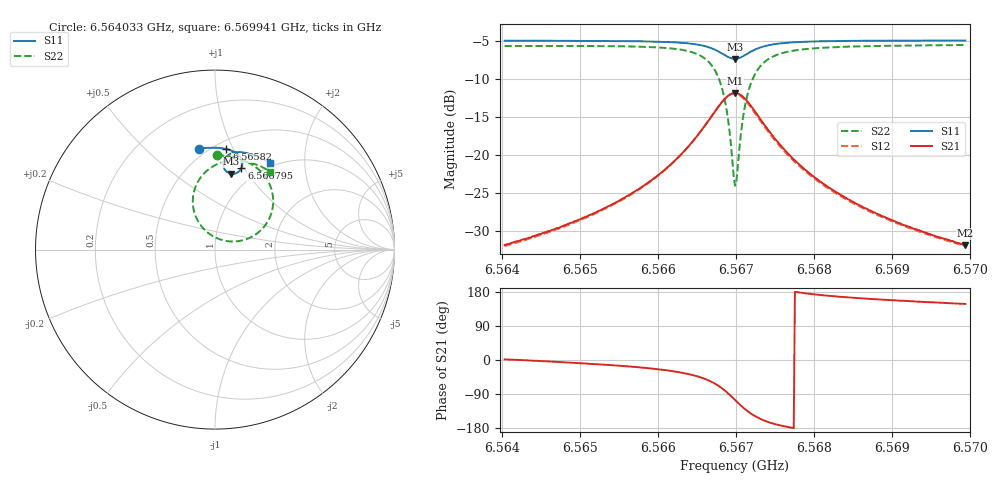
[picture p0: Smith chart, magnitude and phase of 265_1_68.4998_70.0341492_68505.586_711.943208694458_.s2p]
#  HZ  S  RI  R  50.00
! Rohde & Schwarz Vector Network Analyzer
! Rohde-Schwarz,ZNB20-2Port,1311601062101988,3.16
! Created: UTC 3/20/2024, 5:00:25 PM
! freq[Hz]  re:S11  im:S11  re:S21  im:S21  re:S12  im:S12  re:S22  im:S22
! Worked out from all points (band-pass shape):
!   401 points, 6.564033 GHz to 6.569941 GHz, reference 50 ohm
!   highest |S21| = -11.78 dB at 6.566987 GHz (marker M1); lowest = -31.8 dB at 6.569941 GHz (marker M2)
!   |S21| within 3 dB of the highest: 6.566691 GHz to 6.567282 GHz (591.3 kHz wide, 0.009 % of centre)
!   lowest |S11| = -7.3 dB at 6.566987 GHz (marker M3), VSWR 2.52, Z = 40.2 + j41.8 ohm
!   |S11| at or under -10 dB: nowhere
!   |S22| runs from -24.0 to -5.5 dB; largest |S21 - S12| = 0.012
!   S11 on the Smith chart (normalised r, x): 6.564033 GHz: 0.45, +0.75; 6.56582 GHz: 0.57, +0.94; 6.566795 GHz: 0.83, +0.97; 6.569941 GHz: 0.94, +1.35
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6.5640333e9  -0.0875 0.5623  0.0258 0.000771  0.0253 0.000304  0.011 0.5248
6.5650228e9  -0.00787 0.568  0.038 -0.00583  0.0374 -0.00641  0.1007 0.5152
6.5658203e9  0.0635 0.5601  0.0594 -0.0223  0.0585 -0.023  0.1944 0.4809
6.5660123e9  0.0826 0.5546  0.0681 -0.0313  0.0672 -0.0321  0.2233 0.4623
6.5663373e9  0.1182 0.5369  0.088 -0.061  0.0863 -0.0622  0.2815 0.4035
6.5665588e9  0.1429 0.5104  0.1007 -0.1066  0.0984 -0.1086  0.3197 0.3153
6.5666917e9  0.1519 0.4827  0.0964 -0.1551  0.0928 -0.1579  0.3191 0.2229
6.5667951e9  0.147 0.4539  0.0707 -0.2045  0.0645 -0.2072  0.2756 0.1301
6.5668837e9  0.1273 0.4306  0.0202 -0.2425  0.0108 -0.2431  0.1838 0.0612
6.5669133e9  0.1172 0.4254  -0.00322 -0.2501  -0.0131 -0.2493  0.1418 0.049
6.5669576e9  0.0997 0.4221  -0.0417 -0.2531  -0.0523 -0.2496  0.0731 0.0464
6.5669871e9  0.0876 0.4232  -0.0681 -0.2485  -0.0781 -0.2433  0.0275 0.0569
6.5670166e9  0.076 0.4271  -0.0928 -0.2389  -0.102 -0.232  -0.0146 0.0765
6.5670757e9  0.0576 0.4418  -0.1331 -0.2077  -0.1394 -0.1986  -0.0801 0.1359
6.56712e9  0.0494 0.4562  -0.1525 -0.1789  -0.1565 -0.1688  -0.1091 0.1889
6.5671791e9  0.0459 0.4759  -0.1648 -0.1398  -0.166 -0.1302  -0.1233 0.2582
6.5672677e9  0.0515 0.5007  -0.1633 -0.0911  -0.1619 -0.0834  -0.1112 0.3425
6.5675336e9  0.0911 0.5357  -0.1212 -0.0194  -0.1186 -0.016  -0.0158 0.461
6.5679766e9  0.1475 0.5422  -0.0735 0.00784  -0.0717 0.00908  0.098 0.4962
6.5684493e9  0.1931 0.5333  -0.0494 0.0131  -0.0484 0.0138  0.1705 0.4912
6.5689662e9  0.2357 0.5184  -0.0353 0.0143  -0.0347 0.0144  0.2272 0.4754
6.5699409e9  0.3057 0.4824  -0.0218 0.0136  -0.0214 0.0137  0.3074 0.4351
